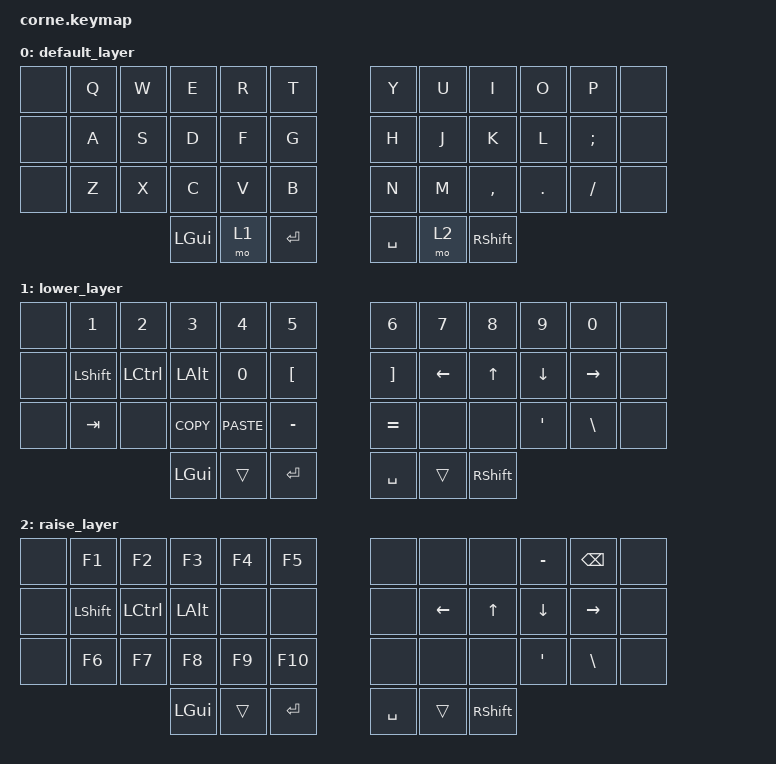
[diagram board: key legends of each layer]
/*
 * Copyright (c) 2020 The ZMK Contributors
 *
 * SPDX-License-Identifier: MIT
 */

#include <behaviors.dtsi>
#include <dt-bindings/zmk/keys.h>

/ {
    combos {
        compatible = "zmk,combos";

        backspace {
            bindings = <&kp BACKSPACE>;
            key-positions = <38 39>;
        };
    };

    keymap {
        compatible = "zmk,keymap";

        default_layer {
            // -----------------------------------------------------------------------------------------
            // |  TAB |  Q  |  W  |  E  |  R  |  T  |   |  Y  |  U   |  I  |  O  |  P  | BKSP |
            // | CTRL |  A  |  S  |  D  |  F  |  G  |   |  H  |  J   |  K  |  L  |  ;  |  '   |
            // | SHFT |  Z  |  X  |  C  |  V  |  B  |   |  N  |  M   |  ,  |  .  |  /  | ESC  |
            //                    | GUI | LWR | SPC |   | ENT | RSE  | ALT |

            bindings = <
&none  &kp Q  &kp W  &kp E     &kp R  &kp T        &kp Y      &kp U  &kp I            &kp O    &kp P     &none
&none  &kp A  &kp S  &kp D     &kp F  &kp G        &kp H      &kp J  &kp K            &kp L    &kp SEMI  &none
&none  &kp Z  &kp X  &kp C     &kp V  &kp B        &kp N      &kp M  &kp COMMA        &kp DOT  &kp FSLH  &none
                     &kp LGUI  &mo 1  &kp ENTER    &kp SPACE  &mo 2  &kp RIGHT_SHIFT
            >;
        };

        lower_layer {
            // -----------------------------------------------------------------------------------------
            // |  TAB |  1  |  2  |  3  |  4  |  5  |   |  6  |  7  |  8  |  9  |  0  | BKSP |
            // | BTCLR| BT1 | BT2 | BT3 | BT4 | BT5 |   | LFT | DWN |  UP | RGT |     |      |
            // | SHFT |     |     |     |     |     |   |     |     |     |     |     |      |
            //                    | GUI |     | SPC |   | ENT |     | ALT |

            bindings = <
&none  &kp N1          &kp N2            &kp N3        &kp N4       &kp N5              &kp N6             &kp N7    &kp N8           &kp N9    &kp N0         &none
&none  &kp LEFT_SHIFT  &kp LEFT_CONTROL  &kp LEFT_ALT  &kp N0       &kp LEFT_BRACKET    &kp RIGHT_BRACKET  &kp LEFT  &kp UP_ARROW     &kp DOWN  &kp RIGHT      &none
&none  &kp TAB         &none             &kp K_COPY    &kp K_PASTE  &kp MINUS           &kp EQUAL          &none     &none            &kp APOS  &kp BACKSLASH  &none
                                         &kp LGUI      &trans       &kp ENTER           &kp SPACE          &trans    &kp RIGHT_SHIFT
            >;
        };

        raise_layer {
            // -----------------------------------------------------------------------------------------
            // |  TAB |  !  |  @  |  #  |  $  |  %  |   |  ^  |  &  |  *  |  (  |  )  | BKSP |
            // | CTRL |     |     |     |     |     |   |  -  |  =  |  [  |  ]  |  \  |  `   |
            // | SHFT |     |     |     |     |     |   |  _  |  +  |  {  |  }  | "|" |  ~   |
            //                    | GUI |     | SPC |   | ENT |     | ALT |

            bindings = <
&none  &kp F1          &kp F2            &kp F3        &kp F4  &kp F5       &none      &none           &none            &kp MINUS       &kp BACKSPACE  &none
&none  &kp LEFT_SHIFT  &kp LEFT_CONTROL  &kp LEFT_ALT  &none   &none        &none      &kp LEFT_ARROW  &kp UP_ARROW     &kp DOWN_ARROW  &kp RIGHT      &none
&none  &kp F6          &kp F7            &kp F8        &kp F9  &kp F10      &none      &none           &none            &kp APOS        &kp BACKSLASH  &none
                                         &kp LGUI      &trans  &kp ENTER    &kp SPACE  &trans          &kp RIGHT_SHIFT
            >;
        };
    };
};
